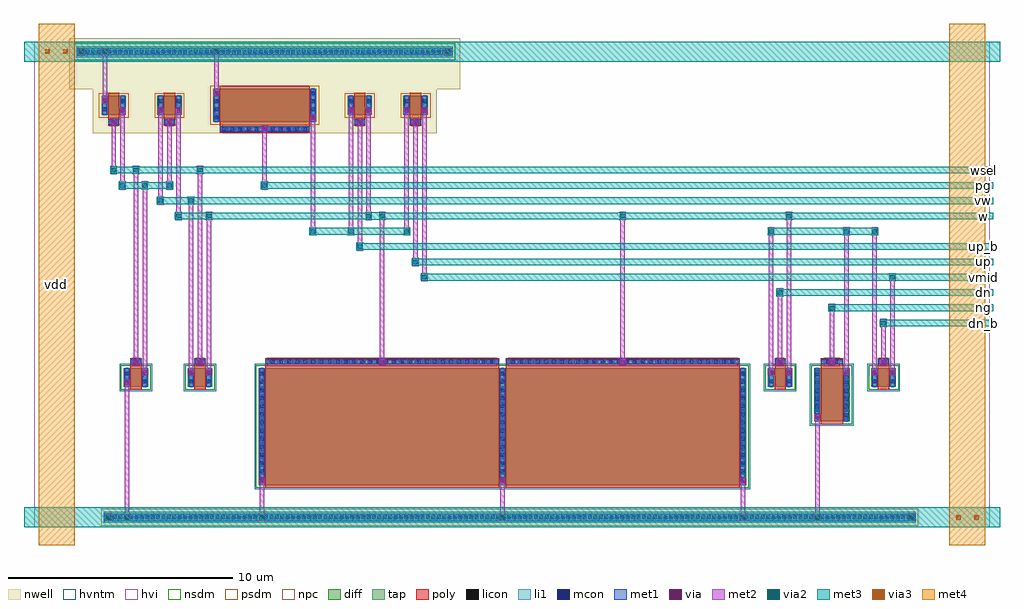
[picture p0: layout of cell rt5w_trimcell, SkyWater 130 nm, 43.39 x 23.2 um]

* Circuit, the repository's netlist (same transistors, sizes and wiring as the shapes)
** sch_path: /home/claude/rt5w_sky/tt/xschem/rt5w_trimcell.sch
.subckt rt5w_trimcell vw wsel up_b up dn dn_b pg ng vmid w vdd vss
*.iopin vw
*.ipin wsel
*.ipin pg
*.ipin ng
*.ipin up_b
*.ipin up
*.ipin dn
*.ipin dn_b
*.iopin vmid
*.opin w
XMpu pu pg vdd vdd sky130_fd_pr__pfet_g5v0d10v5 L=4 W=1.47 nf=1 ad=0.4263 as=0.4263 pd=3.52 ps=3.52 nrd=0.1973 nrs=0.1973 sa=0
+ sb=0 sd=0 mult=1 m=1
XMsu w up_b pu vdd sky130_fd_pr__pfet_g5v0d10v5 L=0.5 W=0.84 nf=1 ad=0.2436 as=0.2436 pd=2.26 ps=2.26 nrd=0.3452 nrs=0.3452 sa=0
+ sb=0 sd=0 mult=1 m=1
XMsub vmid up pu vdd sky130_fd_pr__pfet_g5v0d10v5 L=0.5 W=0.84 nf=1 ad=0.2436 as=0.2436 pd=2.26 ps=2.26 nrd=0.3452 nrs=0.3452 sa=0
+ sb=0 sd=0 mult=1 m=1
XMsd w dn nd vss sky130_fd_pr__nfet_g5v0d10v5 L=0.5 W=0.84 nf=1 ad=0.2436 as=0.2436 pd=2.26 ps=2.26 nrd=0.3452 nrs=0.3452 sa=0
+ sb=0 sd=0 mult=1 m=1
XMsdb vmid dn_b nd vss sky130_fd_pr__nfet_g5v0d10v5 L=0.5 W=0.84 nf=1 ad=0.2436 as=0.2436 pd=2.26 ps=2.26 nrd=0.3452 nrs=0.3452
+ sa=0 sb=0 sd=0 mult=1 m=1
XMnd nd ng vss vss sky130_fd_pr__nfet_g5v0d10v5 L=1 W=2.37 nf=1 ad=0.6873 as=0.6873 pd=5.32 ps=5.32 nrd=0.1224 nrs=0.1224 sa=0
+ sb=0 sd=0 mult=1 m=1
XCw vss w vss vss sky130_fd_pr__nfet_g5v0d10v5 L=10.4 W=10.4 nf=1 ad=3.016 as=3.016 pd=21.38 ps=21.38 nrd=0.02788 nrs=0.02788 sa=0
+ sb=0 sd=0 mult=1 m=1
XMwn w wsel vw vss sky130_fd_pr__nfet_g5v0d10v5 L=0.5 W=0.84 nf=1 ad=0.2436 as=0.2436 pd=2.26 ps=2.26 nrd=0.3452 nrs=0.3452 sa=0
+ sb=0 sd=0 mult=1 m=1
XMwp w wselb vw vdd sky130_fd_pr__pfet_g5v0d10v5 L=0.5 W=0.84 nf=1 ad=0.2436 as=0.2436 pd=2.26 ps=2.26 nrd=0.3452 nrs=0.3452 sa=0
+ sb=0 sd=0 mult=1 m=1
XMip wselb wsel vdd vdd sky130_fd_pr__pfet_g5v0d10v5 L=0.5 W=0.84 nf=1 ad=0.2436 as=0.2436 pd=2.26 ps=2.26 nrd=0.3452 nrs=0.3452
+ sa=0 sb=0 sd=0 mult=1 m=1
XMin wselb wsel vss vss sky130_fd_pr__nfet_g5v0d10v5 L=0.5 W=0.84 nf=1 ad=0.2436 as=0.2436 pd=2.26 ps=2.26 nrd=0.3452 nrs=0.3452
+ sa=0 sb=0 sd=0 mult=1 m=1
.ends
.GLOBAL vdd
.GLOBAL vss
.end

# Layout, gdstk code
import gdstk
lib = gdstk.Library(unit=1e-6, precision=1e-09)
def R(c, l, rs):  # rectangles x0, y0, x1, y1
    for r in rs: c.add(gdstk.rectangle(r[:2], r[2:], *l))
def A(c, l, x, y, w, h, nx, ny, dx, dy):  # array of equal rectangles
    R(c, l, [(x+i*dx, y+j*dy, x+i*dx+w, y+j*dy+h) for i in range(nx) for j in range(ny)])
nwell = (64, 20)
diff = (65, 20)
tap = (65, 44)
poly = (66, 20)
licon = (66, 44)
li1 = (67, 20)
mcon = (67, 44)
met1 = (68, 20)
via = (68, 44)
met2 = (69, 20)
via2 = (69, 44)
met3 = (70, 20)
via3 = (70, 44)
met4 = (71, 20)
hvi = (75, 20)
nsdm = (93, 44)
psdm = (94, 20)
npc = (95, 20)
hvntm = (125, 20)

pfet_w0p84_l0p5_nf1_b_ng = lib.new_cell('pfet_W0p84_L0p5_nf1_b_ng')
R(pfet_w0p84_l0p5_nf1_b_ng, nwell, [(-0.94,-0.74,0.94,1), (-0.72,-0.74,0.72,0.91)])
R(pfet_w0p84_l0p5_nf1_b_ng, diff, [(-0.54,-0.24,0.54,0.6)])
R(pfet_w0p84_l0p5_nf1_b_ng, poly, [(-0.25,-0.725,0.25,0.73)])
R(pfet_w0p84_l0p5_nf1_b_ng, licon, [(-0.085,-0.645,0.085,-0.475), (-0.48,-0.075,-0.31,0.095), (0.31,-0.075,0.48,0.095), (-0.48,0.265,-0.31,0.435), (0.31,0.265,0.48,0.435)])
R(pfet_w0p84_l0p5_nf1_b_ng, li1, [(-0.25,-0.645,0.25,-0.475), (-0.48,-0.26,-0.31,0.62), (0.31,-0.26,0.48,0.62)])
R(pfet_w0p84_l0p5_nf1_b_ng, mcon, [(-0.085,-0.645,0.085,-0.475), (-0.48,-0.085,-0.31,0.085), (0.31,-0.085,0.48,0.085), (-0.48,0.275,-0.31,0.445), (0.31,0.275,0.48,0.445)])
R(pfet_w0p84_l0p5_nf1_b_ng, met1, [(-0.23,-0.675,0.23,-0.445), (-0.51,-0.24,-0.28,0.6), (0.28,-0.24,0.51,0.6)])
R(pfet_w0p84_l0p5_nf1_b_ng, hvi, [(-0.72,-0.74,0.72,-0.425), (-0.725,-0.425,0.725,0.785), (-0.72,0.785,0.72,0.91)])
R(pfet_w0p84_l0p5_nf1_b_ng, psdm, [(-0.665,-0.365,0.665,0.725)])
R(pfet_w0p84_l0p5_nf1_b_ng, npc, [(-0.185,-0.745,0.185,-0.375)])

pfet_w1p47_l4_nf1_b_ng = lib.new_cell('pfet_W1p47_L4_nf1_b_ng')
R(pfet_w1p47_l4_nf1_b_ng, nwell, [(-2.69,-1.055,2.69,1.315), (-2.47,-1.055,2.47,1.225)])
R(pfet_w1p47_l4_nf1_b_ng, diff, [(-2.29,-0.555,2.29,0.915)])
R(pfet_w1p47_l4_nf1_b_ng, poly, [(-2,-1.04,2,1.045)])
A(pfet_w1p47_l4_nf1_b_ng, licon, -1.785, -0.96, 0.17, 0.17, 11, 1, 0.34, 0)
A(pfet_w1p47_l4_nf1_b_ng, licon, -2.23, -0.415, 0.17, 0.17, 1, 4, 0, 0.34)
A(pfet_w1p47_l4_nf1_b_ng, licon, 2.06, -0.415, 0.17, 0.17, 1, 4, 0, 0.34)
R(pfet_w1p47_l4_nf1_b_ng, li1, [(-2,-0.96,2,-0.79), (-2.23,-0.575,-2.06,0.935), (2.06,-0.575,2.23,0.935)])
A(pfet_w1p47_l4_nf1_b_ng, mcon, -1.885, -0.96, 0.17, 0.17, 11, 1, 0.36, 0)
A(pfet_w1p47_l4_nf1_b_ng, mcon, -2.23, -0.445, 0.17, 0.17, 1, 4, 0, 0.36)
A(pfet_w1p47_l4_nf1_b_ng, mcon, 2.06, -0.445, 0.17, 0.17, 1, 4, 0, 0.36)
R(pfet_w1p47_l4_nf1_b_ng, met1, [(-1.98,-0.99,1.98,-0.76), (-2.26,-0.555,-2.03,0.915), (2.03,-0.555,2.26,0.915)])
R(pfet_w1p47_l4_nf1_b_ng, hvi, [(-2.47,-1.055,2.47,-0.74), (-2.475,-0.74,2.475,1.1), (-2.47,1.1,2.47,1.225)])
R(pfet_w1p47_l4_nf1_b_ng, psdm, [(-2.415,-0.68,2.415,1.04)])
R(pfet_w1p47_l4_nf1_b_ng, npc, [(-1.885,-1.06,1.885,-0.69)])

nfet_w0p84_l0p5_nf1_t_ng = lib.new_cell('nfet_W0p84_L0p5_nf1_t_ng')
R(nfet_w0p84_l0p5_nf1_t_ng, diff, [(-0.54,-0.575,0.54,0.265)])
R(nfet_w0p84_l0p5_nf1_t_ng, poly, [(-0.25,-0.705,0.25,0.705)])
R(nfet_w0p84_l0p5_nf1_t_ng, licon, [(-0.48,-0.41,-0.31,-0.24), (0.31,-0.41,0.48,-0.24), (-0.48,-0.07,-0.31,0.1), (0.31,-0.07,0.48,0.1), (-0.085,0.455,0.085,0.625)])
R(nfet_w0p84_l0p5_nf1_t_ng, li1, [(-0.48,-0.595,-0.31,0.285), (0.31,-0.595,0.48,0.285), (-0.25,0.455,0.25,0.625)])
R(nfet_w0p84_l0p5_nf1_t_ng, mcon, [(-0.48,-0.42,-0.31,-0.25), (0.31,-0.42,0.48,-0.25), (-0.48,-0.06,-0.31,0.11), (0.31,-0.06,0.48,0.11), (-0.085,0.455,0.085,0.625)])
R(nfet_w0p84_l0p5_nf1_t_ng, met1, [(-0.51,-0.575,-0.28,0.265), (0.28,-0.575,0.51,0.265), (-0.23,0.425,0.23,0.655)])
R(nfet_w0p84_l0p5_nf1_t_ng, hvi, [(-0.725,-0.76,0.725,0.45)])
R(nfet_w0p84_l0p5_nf1_t_ng, nsdm, [(-0.665,-0.7,0.665,0.39)])
R(nfet_w0p84_l0p5_nf1_t_ng, npc, [(-0.185,0.355,0.185,0.725)])
R(nfet_w0p84_l0p5_nf1_t_ng, hvntm, [(-0.725,-0.76,0.725,0.45)])

nfet_w5p2_l10p4_nf2_t_ng = lib.new_cell('nfet_W5p2_L10p4_nf2_t_ng')
R(nfet_w5p2_l10p4_nf2_t_ng, diff, [(-10.835,-2.755,10.835,2.445)])
R(nfet_w5p2_l10p4_nf2_t_ng, poly, [(-10.545,-2.885,-0.145,2.885), (0.145,-2.885,10.545,2.885)])
A(nfet_w5p2_l10p4_nf2_t_ng, licon, -10.775, -2.62, 0.17, 0.17, 3, 15, 10.69, 0.34)
A(nfet_w5p2_l10p4_nf2_t_ng, licon, -10.36, 2.635, 0.17, 0.17, 30, 1, 0.34, 0)
A(nfet_w5p2_l10p4_nf2_t_ng, licon, 0.33, 2.635, 0.17, 0.17, 30, 1, 0.34, 0)
A(nfet_w5p2_l10p4_nf2_t_ng, li1, -10.775, -2.775, 0.17, 5.24, 3, 1, 10.69, 0)
R(nfet_w5p2_l10p4_nf2_t_ng, li1, [(-10.545,2.635,-0.145,2.805), (0.145,2.635,10.545,2.805)])
A(nfet_w5p2_l10p4_nf2_t_ng, mcon, -10.775, -2.58, 0.17, 0.17, 3, 14, 10.69, 0.36)
A(nfet_w5p2_l10p4_nf2_t_ng, mcon, -10.29, 2.635, 0.17, 0.17, 28, 1, 0.36, 0)
A(nfet_w5p2_l10p4_nf2_t_ng, mcon, 0.4, 2.635, 0.17, 0.17, 28, 1, 0.36, 0)
A(nfet_w5p2_l10p4_nf2_t_ng, met1, -10.805, -2.755, 0.23, 5.2, 3, 1, 10.69, 0)
R(nfet_w5p2_l10p4_nf2_t_ng, met1, [(-10.525,2.605,-0.165,2.835), (0.165,2.605,10.525,2.835)])
R(nfet_w5p2_l10p4_nf2_t_ng, hvi, [(-11.02,-2.94,11.02,2.63)])
R(nfet_w5p2_l10p4_nf2_t_ng, nsdm, [(-10.96,-2.88,10.96,2.57)])
R(nfet_w5p2_l10p4_nf2_t_ng, npc, [(-10.46,2.535,-0.23,2.905), (0.23,2.535,10.46,2.905)])
R(nfet_w5p2_l10p4_nf2_t_ng, hvntm, [(-11.02,-2.94,11.02,2.63)])

nfet_w2p37_l1_nf1_t_ng = lib.new_cell('nfet_W2p37_L1_nf1_t_ng')
R(nfet_w2p37_l1_nf1_t_ng, diff, [(-0.79,-1.34,0.79,1.03)])
R(nfet_w2p37_l1_nf1_t_ng, poly, [(-0.5,-1.47,0.5,1.47)])
A(nfet_w2p37_l1_nf1_t_ng, licon, -0.73, -1.26, 0.17, 0.17, 1, 7, 0, 0.34)
A(nfet_w2p37_l1_nf1_t_ng, licon, 0.56, -1.26, 0.17, 0.17, 1, 7, 0, 0.34)
R(nfet_w2p37_l1_nf1_t_ng, licon, [(-0.255,1.22,-0.085,1.39), (0.085,1.22,0.255,1.39)])
R(nfet_w2p37_l1_nf1_t_ng, li1, [(-0.73,-1.36,-0.56,1.05), (0.56,-1.36,0.73,1.05), (-0.5,1.22,0.5,1.39)])
A(nfet_w2p37_l1_nf1_t_ng, mcon, -0.73, -1.14, 0.17, 0.17, 1, 6, 0, 0.36)
A(nfet_w2p37_l1_nf1_t_ng, mcon, 0.56, -1.14, 0.17, 0.17, 1, 6, 0, 0.36)
R(nfet_w2p37_l1_nf1_t_ng, mcon, [(-0.265,1.22,-0.095,1.39), (0.095,1.22,0.265,1.39)])
R(nfet_w2p37_l1_nf1_t_ng, met1, [(-0.76,-1.34,-0.53,1.03), (0.53,-1.34,0.76,1.03), (-0.48,1.19,0.48,1.42)])
R(nfet_w2p37_l1_nf1_t_ng, hvi, [(-0.975,-1.525,0.975,1.215)])
R(nfet_w2p37_l1_nf1_t_ng, nsdm, [(-0.915,-1.465,0.915,1.155)])
R(nfet_w2p37_l1_nf1_t_ng, npc, [(-0.355,1.12,0.355,1.49)])
R(nfet_w2p37_l1_nf1_t_ng, hvntm, [(-0.975,-1.525,0.975,1.215)])

rt5w_trimcell = lib.new_cell('rt5w_trimcell')
R(rt5w_trimcell, nwell, [(0,-4.07,15.3,-1.7), (-1.04,-2.115,16.34,-0.45), (-1.04,-1.04,16.34,0.14)])
R(rt5w_trimcell, tap, [(0.5,-21.4,36.59,-20.9), (-0.7,-0.7,16,-0.2)])
A(rt5w_trimcell, licon, 0.665, -21.235, 0.17, 0.17, 75, 1, 0.48, 0)
A(rt5w_trimcell, licon, -0.535, -0.535, 0.17, 0.17, 34, 1, 0.48, 0)
R(rt5w_trimcell, li1, [(0.545,-21.315,36.545,-20.985), (-0.655,-0.615,15.955,-0.285)])
A(rt5w_trimcell, mcon, 0.905, -21.235, 0.17, 0.17, 74, 1, 0.48, 0)
A(rt5w_trimcell, mcon, -0.295, -0.535, 0.17, 0.17, 34, 1, 0.48, 0)
A(rt5w_trimcell, met1, 7.4, -19.715, 0.26, 0.32, 3, 1, 10.69, 0)
A(rt5w_trimcell, met1, 30.405, -14.37, 0.32, 0.26, 3, 1, 2.3, 0)
R(rt5w_trimcell, met1, [(0.5,-21.315,36.59,-20.985), (0.54,-21.28,0.86,-21.02), (36.23,-21.28,36.55,-21.02), (32.09,-16.885,32.35,-16.565), (1.4,-15.355,1.66,-15.035), (2.19,-14.835,2.45,-14.515), (4.25,-14.835,4.51,-14.515), (5.04,-14.835,5.3,-14.515), (30.04,-14.835,30.3,-14.515), (30.83,-14.835,31.09,-14.515), (33.38,-14.835,33.64,-14.515), (34.64,-14.835,34.9,-14.515), (35.43,-14.835,35.69,-14.515), (1.765,-14.37,2.085,-14.11), (4.615,-14.37,4.935,-14.11), (12.715,-14.37,13.035,-14.11), (23.405,-14.37,23.725,-14.11), (7.49,-4.02,7.81,-3.76), (0.78,-3.705,1.1,-3.445), (3.26,-3.705,3.58,-3.445), (11.72,-3.705,12.04,-3.445), (14.2,-3.705,14.52,-3.445), (9.665,-3.57,9.925,-3.25), (1.205,-3.255,1.465,-2.935), (2.895,-3.255,3.155,-2.935), (3.685,-3.255,3.945,-2.935), (11.355,-3.255,11.615,-2.935), (12.145,-3.255,12.405,-2.935), (13.835,-3.255,14.095,-2.935), (14.625,-3.255,14.885,-2.935), (0.415,-2.735,0.675,-2.415), (5.375,-2.42,5.635,-2.1), (-0.7,-0.615,16,-0.285), (-0.66,-0.58,-0.34,-0.32), (15.64,-0.58,15.96,-0.32)])
A(rt5w_trimcell, via, 7.455, -19.63, 0.15, 0.15, 3, 1, 10.69, 0)
A(rt5w_trimcell, via, 30.49, -14.315, 0.15, 0.15, 3, 1, 2.3, 0)
R(rt5w_trimcell, via, [(0.625,-21.225,0.775,-21.075), (36.315,-21.225,36.465,-21.075), (32.145,-16.8,32.295,-16.65), (1.455,-15.27,1.605,-15.12), (2.245,-14.75,2.395,-14.6), (4.305,-14.75,4.455,-14.6), (5.095,-14.75,5.245,-14.6), (30.095,-14.75,30.245,-14.6), (30.885,-14.75,31.035,-14.6), (33.435,-14.75,33.585,-14.6), (34.695,-14.75,34.845,-14.6), (35.485,-14.75,35.635,-14.6), (1.85,-14.315,2,-14.165), (4.7,-14.315,4.85,-14.165), (12.8,-14.315,12.95,-14.165), (23.49,-14.315,23.64,-14.165), (7.575,-3.965,7.725,-3.815), (0.865,-3.65,1.015,-3.5), (3.345,-3.65,3.495,-3.5), (11.805,-3.65,11.955,-3.5), (14.285,-3.65,14.435,-3.5), (9.72,-3.485,9.87,-3.335), (1.26,-3.17,1.41,-3.02), (2.95,-3.17,3.1,-3.02), (3.74,-3.17,3.89,-3.02), (11.41,-3.17,11.56,-3.02), (12.2,-3.17,12.35,-3.02), (13.89,-3.17,14.04,-3.02), (14.68,-3.17,14.83,-3.02), (0.47,-2.65,0.62,-2.5), (5.43,-2.335,5.58,-2.185), (-0.575,-0.525,-0.425,-0.375), (15.725,-0.525,15.875,-0.375)])
A(rt5w_trimcell, met2, 7.39, -21.335, 0.28, 0.37, 3, 1, 10.69, 0)
A(rt5w_trimcell, met2, 7.43, -21.25, 0.2, 1.795, 3, 1, 10.69, 0)
A(rt5w_trimcell, met2, 7.4, -19.715, 0.26, 0.32, 3, 1, 10.69, 0)
A(rt5w_trimcell, met2, 30.435, -14.4, 0.26, 0.32, 3, 1, 2.3, 0)
R(rt5w_trimcell, met2, [(0.56,-21.335,0.84,-20.965), (1.39,-21.335,1.67,-20.965), (32.08,-21.335,32.36,-20.965), (36.25,-21.335,36.53,-20.965), (0.57,-21.31,0.83,-20.99), (36.26,-21.31,36.52,-20.99), (1.43,-21.25,1.63,-15.095), (32.12,-21.25,32.32,-16.625), (32.09,-16.885,32.35,-16.565), (1.4,-15.355,1.66,-15.035), (2.19,-14.835,2.45,-14.515), (4.25,-14.835,4.51,-14.515), (5.04,-14.835,5.3,-14.515), (30.04,-14.835,30.3,-14.515), (30.83,-14.835,31.09,-14.515), (33.38,-14.835,33.64,-14.515), (34.64,-14.835,34.9,-14.515), (35.43,-14.835,35.69,-14.515), (2.22,-14.775,2.42,-6.295), (4.28,-14.775,4.48,-6.975), (5.07,-14.775,5.27,-7.655), (30.07,-14.775,30.27,-8.335), (30.86,-14.775,31.06,-7.655), (33.41,-14.775,33.61,-8.335), (34.67,-14.775,34.87,-8.335), (35.46,-14.775,35.66,-10.375), (1.795,-14.4,2.055,-14.08), (4.645,-14.4,4.905,-14.08), (12.745,-14.4,13.005,-14.08), (23.435,-14.4,23.695,-14.08), (1.825,-14.34,2.025,-5.615), (4.675,-14.34,4.875,-5.615), (12.775,-14.34,12.975,-7.655), (23.465,-14.34,23.665,-7.655), (30.465,-14.34,30.665,-11.055), (32.765,-14.34,32.965,-11.735), (35.065,-14.34,35.265,-12.415), (35.025,-12.7,35.305,-12.33), (32.725,-12.02,33.005,-11.65), (30.425,-11.34,30.705,-10.97), (14.615,-10.66,14.895,-10.29), (35.42,-10.66,35.7,-10.29), (14.655,-10.575,14.855,-2.995), (14.22,-9.98,14.5,-9.61), (14.26,-9.895,14.46,-3.475), (11.74,-9.3,12.02,-8.93), (11.78,-9.215,11.98,-3.475), (9.655,-8.62,9.935,-8.25), (11.345,-8.62,11.625,-8.25), (13.825,-8.62,14.105,-8.25), (30.03,-8.62,30.31,-8.25), (33.37,-8.62,33.65,-8.25), (34.63,-8.62,34.91,-8.25), (9.695,-8.535,9.895,-3.31), (11.385,-8.535,11.585,-2.995), (13.865,-8.535,14.065,-2.995), (3.675,-7.94,3.955,-7.57), (5.03,-7.94,5.31,-7.57), (12.135,-7.94,12.415,-7.57), (12.735,-7.94,13.015,-7.57), (23.425,-7.94,23.705,-7.57), (30.82,-7.94,31.1,-7.57), (3.715,-7.855,3.915,-2.995), (12.175,-7.855,12.375,-2.995), (2.885,-7.26,3.165,-6.89), (4.24,-7.26,4.52,-6.89), (2.925,-7.175,3.125,-2.995), (1.195,-6.58,1.475,-6.21), (2.18,-6.58,2.46,-6.21), (3.28,-6.58,3.56,-6.21), (7.51,-6.58,7.79,-6.21), (1.235,-6.495,1.435,-2.995), (3.32,-6.495,3.52,-3.475), (7.55,-6.495,7.75,-3.79), (0.8,-5.9,1.08,-5.53), (1.785,-5.9,2.065,-5.53), (4.635,-5.9,4.915,-5.53), (0.84,-5.815,1.04,-3.475), (7.52,-4.05,7.78,-3.73), (0.81,-3.735,1.07,-3.415), (3.29,-3.735,3.55,-3.415), (11.75,-3.735,12.01,-3.415), (14.23,-3.735,14.49,-3.415), (9.665,-3.57,9.925,-3.25), (1.205,-3.255,1.465,-2.935), (2.895,-3.255,3.155,-2.935), (3.685,-3.255,3.945,-2.935), (11.355,-3.255,11.615,-2.935), (12.145,-3.255,12.405,-2.935), (13.835,-3.255,14.095,-2.935), (14.625,-3.255,14.885,-2.935), (0.415,-2.735,0.675,-2.415), (0.445,-2.675,0.645,-0.35), (5.375,-2.42,5.635,-2.1), (5.405,-2.36,5.605,-0.35), (-0.64,-0.635,-0.36,-0.265), (0.405,-0.635,0.685,-0.265), (5.365,-0.635,5.645,-0.265), (15.66,-0.635,15.94,-0.265), (-0.63,-0.61,-0.37,-0.29), (15.67,-0.61,15.93,-0.29)])
A(rt5w_trimcell, via2, 7.43, -21.25, 0.2, 0.2, 3, 1, 10.69, 0)
R(rt5w_trimcell, via2, [(0.6,-21.25,0.8,-21.05), (1.43,-21.25,1.63,-21.05), (32.12,-21.25,32.32,-21.05), (36.29,-21.25,36.49,-21.05), (35.065,-12.615,35.265,-12.415), (32.765,-11.935,32.965,-11.735), (30.465,-11.255,30.665,-11.055), (14.655,-10.575,14.855,-10.375), (35.46,-10.575,35.66,-10.375), (14.26,-9.895,14.46,-9.695), (11.78,-9.215,11.98,-9.015), (9.695,-8.535,9.895,-8.335), (11.385,-8.535,11.585,-8.335), (13.865,-8.535,14.065,-8.335), (30.07,-8.535,30.27,-8.335), (33.41,-8.535,33.61,-8.335), (34.67,-8.535,34.87,-8.335), (3.715,-7.855,3.915,-7.655), (5.07,-7.855,5.27,-7.655), (12.175,-7.855,12.375,-7.655), (12.775,-7.855,12.975,-7.655), (23.465,-7.855,23.665,-7.655), (30.86,-7.855,31.06,-7.655), (2.925,-7.175,3.125,-6.975), (4.28,-7.175,4.48,-6.975), (1.235,-6.495,1.435,-6.295), (2.22,-6.495,2.42,-6.295), (3.32,-6.495,3.52,-6.295), (7.55,-6.495,7.75,-6.295), (0.84,-5.815,1.04,-5.615), (1.825,-5.815,2.025,-5.615), (4.675,-5.815,4.875,-5.615), (-0.6,-0.55,-0.4,-0.35), (0.445,-0.55,0.645,-0.35), (5.405,-0.55,5.605,-0.35), (15.7,-0.55,15.9,-0.35)])
A(rt5w_trimcell, met3, 7.365, -21.315, 0.33, 0.33, 3, 1, 10.69, 0)
R(rt5w_trimcell, met3, [(-3.05,-21.6,40.34,-20.7), (0.535,-21.315,0.865,-20.985), (1.365,-21.315,1.695,-20.985), (32.055,-21.315,32.385,-20.985), (36.225,-21.315,36.555,-20.985), (38.295,-21.315,38.685,-20.985), (39.095,-21.315,39.485,-20.985), (35,-12.68,35.33,-12.35), (35.015,-12.665,40.04,-12.365), (32.7,-12,33.03,-11.67), (32.715,-11.985,40.04,-11.685), (30.4,-11.32,30.73,-10.99), (30.415,-11.305,40.04,-11.005), (14.59,-10.64,14.92,-10.31), (35.395,-10.64,35.725,-10.31), (14.605,-10.625,40.04,-10.325), (14.195,-9.96,14.525,-9.63), (14.21,-9.945,40.04,-9.645), (11.715,-9.28,12.045,-8.95), (11.73,-9.265,40.04,-8.965), (9.63,-8.6,9.96,-8.27), (11.32,-8.6,11.65,-8.27), (13.8,-8.6,14.13,-8.27), (30.005,-8.6,30.335,-8.27), (33.345,-8.6,33.675,-8.27), (34.605,-8.6,34.935,-8.27), (9.645,-8.585,14.115,-8.285), (30.02,-8.585,34.92,-8.285), (3.65,-7.92,3.98,-7.59), (5.005,-7.92,5.335,-7.59), (12.11,-7.92,12.44,-7.59), (12.44,-7.92,12.71,-7.59), (12.71,-7.92,13.04,-7.59), (23.4,-7.92,23.73,-7.59), (30.795,-7.92,31.125,-7.59), (3.665,-7.905,40.04,-7.605), (2.86,-7.24,3.19,-6.91), (4.215,-7.24,4.545,-6.91), (2.875,-7.225,40.04,-6.925), (1.17,-6.56,1.5,-6.23), (2.155,-6.56,2.485,-6.23), (3.255,-6.56,3.585,-6.23), (7.485,-6.56,7.815,-6.23), (1.185,-6.545,3.57,-6.245), (7.5,-6.545,40.04,-6.245), (0.775,-5.88,1.105,-5.55), (1.76,-5.88,2.09,-5.55), (4.61,-5.88,4.94,-5.55), (0.79,-5.865,40.04,-5.565), (-3.05,-0.9,40.34,0), (-2.195,-0.615,-1.805,-0.285), (-1.395,-0.615,-1.005,-0.285), (-0.665,-0.615,-0.335,-0.285), (0.38,-0.615,0.71,-0.285), (5.34,-0.615,5.67,-0.285), (15.635,-0.615,15.965,-0.285)])
R(rt5w_trimcell, via3, [(38.39,-21.25,38.59,-21.05), (39.19,-21.25,39.39,-21.05), (-2.1,-0.55,-1.9,-0.35), (-1.3,-0.55,-1.1,-0.35)])
R(rt5w_trimcell, met4, [(-2.4,-22.4,-0.8,0.8), (38.09,-22.4,39.69,0.8), (38.24,-21.4,38.74,-20.9), (39.04,-21.4,39.54,-20.9), (-2.25,-0.7,-1.75,-0.2), (-1.45,-0.7,-0.95,-0.2)])
R(rt5w_trimcell, hvi, [(-2.6,-21.6,39.89,0)])
R(rt5w_trimcell, nsdm, [(-0.825,-0.825,16.125,-0.075)])
R(rt5w_trimcell, psdm, [(0.375,-21.525,36.715,-20.775)])
rt5w_trimcell.add(gdstk.Reference(pfet_w0p84_l0p5_nf1_b_ng, (0.94,-3.015)))
rt5w_trimcell.add(gdstk.Reference(pfet_w0p84_l0p5_nf1_b_ng, (3.42,-3.015)))
rt5w_trimcell.add(gdstk.Reference(pfet_w1p47_l4_nf1_b_ng, (7.65,-3.015)))
rt5w_trimcell.add(gdstk.Reference(pfet_w0p84_l0p5_nf1_b_ng, (11.88,-3.015)))
rt5w_trimcell.add(gdstk.Reference(pfet_w0p84_l0p5_nf1_b_ng, (14.36,-3.015)))
rt5w_trimcell.add(gdstk.Reference(nfet_w0p84_l0p5_nf1_t_ng, (1.925,-14.78)))
rt5w_trimcell.add(gdstk.Reference(nfet_w0p84_l0p5_nf1_t_ng, (4.775,-14.78)))
rt5w_trimcell.add(gdstk.Reference(nfet_w5p2_l10p4_nf2_t_ng, (18.22,-16.96)))
rt5w_trimcell.add(gdstk.Reference(nfet_w0p84_l0p5_nf1_t_ng, (30.565,-14.78)))
rt5w_trimcell.add(gdstk.Reference(nfet_w2p37_l1_nf1_t_ng, (32.865,-15.545)))
rt5w_trimcell.add(gdstk.Reference(nfet_w0p84_l0p5_nf1_t_ng, (35.165,-14.78)))
rt5w_trimcell.add(gdstk.Label('wsel', (39.59,-5.715), layer=70, texttype=5))
rt5w_trimcell.add(gdstk.Label('vw', (39.59,-7.075), layer=70, texttype=5))
rt5w_trimcell.add(gdstk.Label('w', (39.59,-7.755), layer=70, texttype=5))
rt5w_trimcell.add(gdstk.Label('pg', (39.59,-6.395), layer=70, texttype=5))
rt5w_trimcell.add(gdstk.Label('up_b', (39.59,-9.115), layer=70, texttype=5))
rt5w_trimcell.add(gdstk.Label('vmid', (39.59,-10.475), layer=70, texttype=5))
rt5w_trimcell.add(gdstk.Label('up', (39.59,-9.795), layer=70, texttype=5))
rt5w_trimcell.add(gdstk.Label('dn', (39.59,-11.155), layer=70, texttype=5))
rt5w_trimcell.add(gdstk.Label('ng', (39.59,-11.835), layer=70, texttype=5))
rt5w_trimcell.add(gdstk.Label('dn_b', (39.59,-12.515), layer=70, texttype=5))
rt5w_trimcell.add(gdstk.Label('vdd', (-1.6,-10.8), layer=71, texttype=5))
rt5w_trimcell.add(gdstk.Label('vss', (38.89,-10.8), layer=71, texttype=5))

lib.write_gds('rt5w_trimcell.gds')
